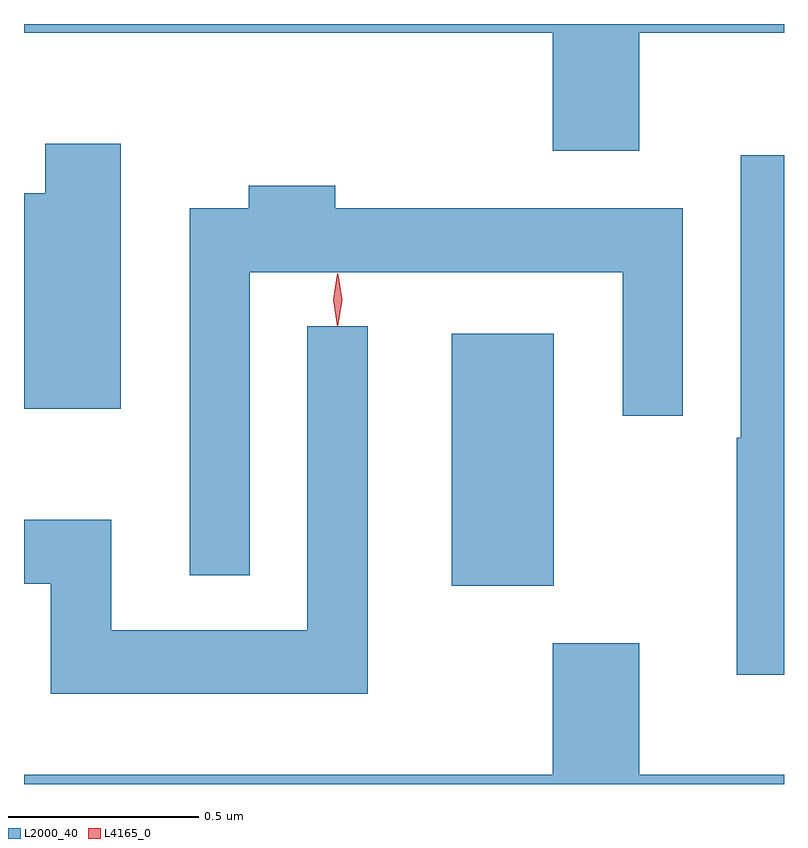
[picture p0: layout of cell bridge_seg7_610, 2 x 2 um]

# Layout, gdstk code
import gdstk
lib = gdstk.Library(unit=1e-6, precision=1e-09)
def R(c, l, rs):  # rectangles x0, y0, x1, y1
    for r in rs: c.add(gdstk.rectangle(r[:2], r[2:], *l))
def P(c, l, *ps):  # polygons
    for p in ps: c.add(gdstk.Polygon(p, *l))
L2000_40 = (2000, 40)
L4165_0 = (4165, 0)

bridge_seg7_610 = lib.new_cell('bridge_seg7_610')
R(bridge_seg7_610, L2000_40, [(637.796,1750.601,638.064,1751.264)])
P(bridge_seg7_610, L2000_40, [(638.289,1752.056),(638.67,1752.056),(638.67,1752.079),(636.67,1752.079),(636.67,1752.056),(638.061,1752.056),(638.061,1751.746),(638.289,1751.746)],
  [(636.924,1751.764),(636.726,1751.764),(636.726,1751.634),(636.67,1751.634),(636.67,1751.066),(636.924,1751.066)],
  [(638.67,1751.733),(638.556,1751.733),(638.556,1750.99),(638.546,1750.99),(638.546,1750.366),(638.67,1750.366)],
  [(637.264,1751.426),(638.246,1751.426),(638.246,1751.048),(638.404,1751.048),(638.404,1751.594),(637.489,1751.594),(637.489,1751.654),(637.261,1751.654),(637.261,1751.594),(637.106,1751.594),(637.106,1750.628),(637.264,1750.628)],
  [(637.574,1751.283),(637.416,1751.283),(637.416,1750.484),(636.899,1750.484),(636.899,1750.774),(636.67,1750.774),(636.67,1750.606),(636.741,1750.606),(636.741,1750.316),(637.574,1750.316)],
  [(638.67,1750.104),(638.289,1750.104),(638.289,1750.449),(638.061,1750.449),(638.061,1750.104),(636.67,1750.104),(636.67,1750.079),(638.67,1750.079)])
P(bridge_seg7_610, L4165_0, [(637.497,1751.287),(637.496,1751.288),(637.487,1751.354),(637.496,1751.42),(637.497,1751.421),(637.497,1751.42),(637.507,1751.354),(637.497,1751.288)],
  [(637.494,1751.284),(637.494,1751.284),(637.484,1751.353),(637.494,1751.422),(637.494,1751.423),(637.495,1751.422),(637.504,1751.353),(637.495,1751.284)])

lib.write_gds('bridge_seg7_610.gds')
